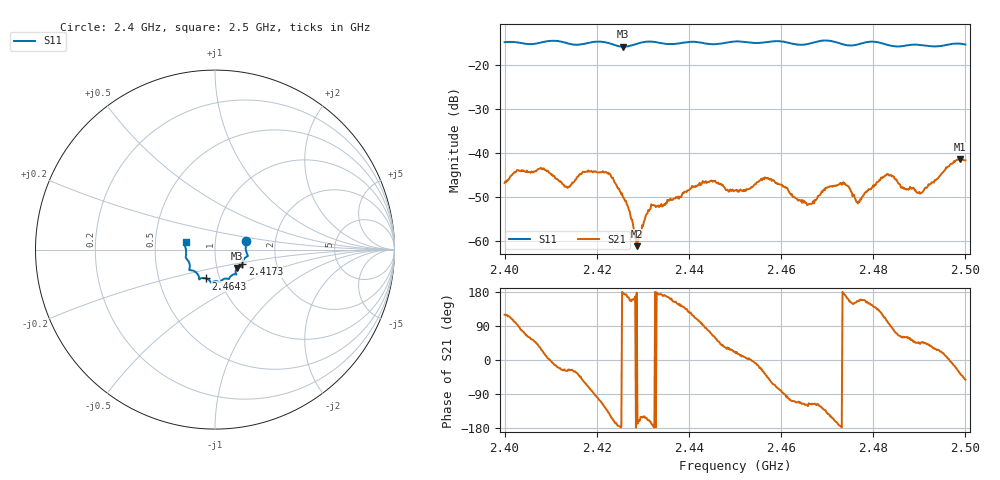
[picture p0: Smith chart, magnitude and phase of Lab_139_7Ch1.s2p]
# Hz S RI R 50
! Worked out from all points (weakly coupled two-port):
!   601 points, 2.4 GHz to 2.5 GHz, reference 50 ohm
!   highest |S21| = -41.38 dB at 2.4988 GHz (marker M1); lowest = -61.1 dB at 2.4287 GHz (marker M2)
!   lowest |S11| = -15.9 dB at 2.4257 GHz (marker M3), VSWR 1.38, Z = 62.4 - j13.1 ohm
!   |S11| at or under -10 dB: start of sweep to end of sweep
!   S12 and S22 are empty: the file has one direction only
!   S11 on the Smith chart (normalised r, x): 2.4 GHz: 1.41, +0.14; 2.4173 GHz: 1.34, -0.23; 2.4643 GHz: 0.86, -0.28; 2.5 GHz: 0.72, +0.06
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2.4e9  0.1732 0.0488  -0.00225 0.00398  0 0  0 0
2.402667e9  0.1753 0.0368  -0.000508 0.00636  0 0  0 0
2.408e9  0.1778 -0.0214  0.00598 0.00295  0 0  0 0
2.413667e9  0.1691 -0.0448  0.00352 -0.00192  0 0  0 0
2.416667e9  0.1529 -0.0745  0.00379 -0.00435  0 0  0 0
2.417333e9  0.152 -0.082  0.00311 -0.00519  0 0  0 0
2.4225e9  0.1487 -0.0947  -0.00448 -0.00394  0 0  0 0
2.425667e9  0.1226 -0.1024  -0.00315 0.000131  0 0  0 0
2.428667e9  0.115 -0.1289  -0.000877 3.47e-05  0 0  0 0
2.431667e9  0.1189 -0.1391  -0.00223 -0.000702  0 0  0 0
2.433333e9  0.1128 -0.1375  -0.00253 0.000268  0 0  0 0
2.4435e9  0.0665 -0.1611  0.000395 0.00465  0 0  0 0
2.45e9  0.0287 -0.1811  0.00349 0.00141  0 0  0 0
2.457e9  -0.014 -0.18  0.00361 -0.00363  0 0  0 0
2.464333e9  -0.0498 -0.1604  -0.00118 -0.00266  0 0  0 0
2.466667e9  -0.0758 -0.1591  -0.00121 -0.00236  0 0  0 0
2.473333e9  -0.0927 -0.1432  -0.00442 2.34e-05  0 0  0 0
2.476833e9  -0.1249 -0.1163  -0.00256 0.0012  0 0  0 0
2.483333e9  -0.1404 -0.0895  -0.000719 0.00568  0 0  0 0
2.490167e9  -0.1627 -0.0398  0.00254 0.00234  0 0  0 0
2.498833e9  -0.1692 0.0362  0.00694 -0.00496  0 0  0 0
2.5e9  -0.1639 0.0427  0.00507 -0.0065  0 0  0 0
